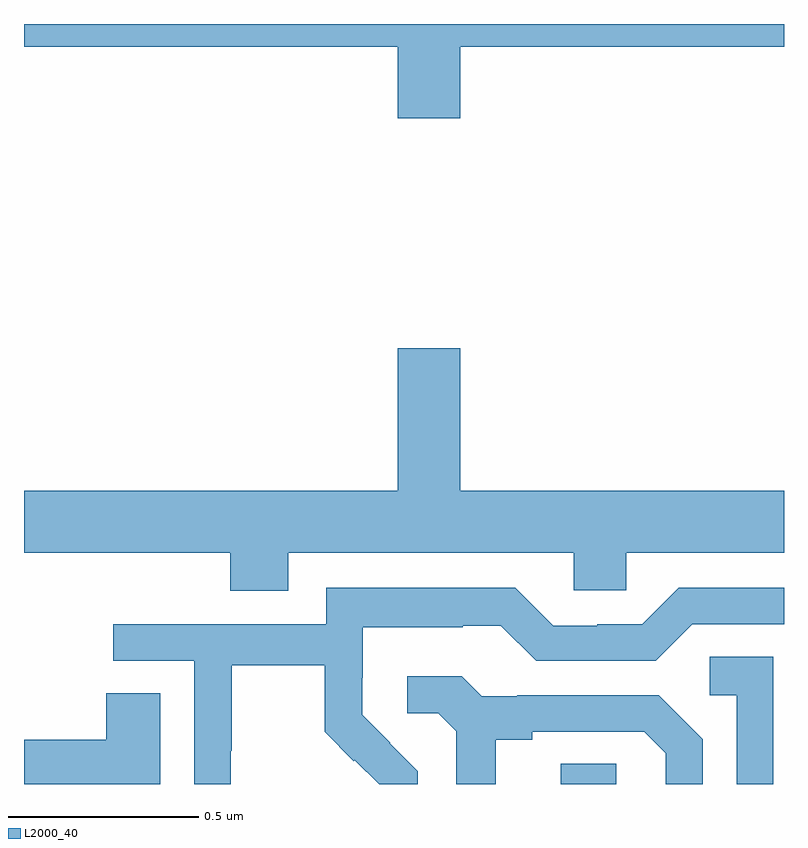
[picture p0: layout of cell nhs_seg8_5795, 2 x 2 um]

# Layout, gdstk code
import gdstk
lib = gdstk.Library(unit=1e-6, precision=1e-09)
def R(c, l, rs):  # rectangles x0, y0, x1, y1
    for r in rs: c.add(gdstk.rectangle(r[:2], r[2:], *l))
def P(c, l, *ps):  # polygons
    for p in ps: c.add(gdstk.Polygon(p, *l))
L2000_40 = (2000, 40)

nhs_seg8_5795 = lib.new_cell('nhs_seg8_5795')
R(nhs_seg8_5795, L2000_40, [(189.413,1107.9,189.558,1107.953)])
P(nhs_seg8_5795, L2000_40, [(190,1109.9),(188,1109.9),(188,1109.84),(188.984,1109.84),(188.984,1109.652),(189.148,1109.652),(189.148,1109.84),(190,1109.84)],
  [(188.695,1108.508),(189.447,1108.508),(189.447,1108.41),(189.585,1108.41),(189.585,1108.508),(190,1108.508),(190,1108.672),(189.148,1108.672),(189.148,1109.047),(188.984,1109.047),(188.984,1108.672),(188,1108.672),(188,1108.508),(188.543,1108.508),(188.543,1108.409),(188.695,1108.409)],
  [(188.544,1107.988),(188.547,1107.988),(188.547,1108.212),(188.791,1108.212),(188.791,1108.037),(188.868,1107.96),(188.871,1107.963),(188.935,1107.9),(189.036,1107.9),(189.036,1107.934),(188.963,1108.007),(188.964,1108.008),(188.89,1108.082),(188.89,1108.179),(188.892,1108.179),(188.892,1108.313),(189.155,1108.313),(189.155,1108.317),(189.255,1108.317),(189.348,1108.224),(189.663,1108.224),(189.759,1108.32),(190,1108.32),(190,1108.416),(189.723,1108.416),(189.627,1108.32),(189.509,1108.32),(189.509,1108.317),(189.393,1108.317),(189.293,1108.417),(188.796,1108.417),(188.796,1108.32),(188.235,1108.32),(188.235,1108.224),(188.448,1108.224),(188.448,1107.9),(188.544,1107.9)],
  [(189.972,1108.235),(189.804,1108.235),(189.804,1108.134),(189.876,1108.134),(189.876,1107.9),(189.972,1107.9)],
  [(189.241,1108.016),(189.337,1108.016),(189.337,1108.038),(189.632,1108.038),(189.689,1107.981),(189.689,1107.9),(189.786,1107.9),(189.786,1108.018),(189.67,1108.134),(189.298,1108.134),(189.298,1108.131),(189.204,1108.131),(189.152,1108.183),(189.009,1108.183),(189.009,1108.086),(189.09,1108.086),(189.137,1108.039),(189.137,1107.9),(189.241,1107.9)],
  [(188.359,1108.139),(188.216,1108.139),(188.216,1108.016),(188,1108.016),(188,1107.9),(188.359,1107.9)])

lib.write_gds('nhs_seg8_5795.gds')
